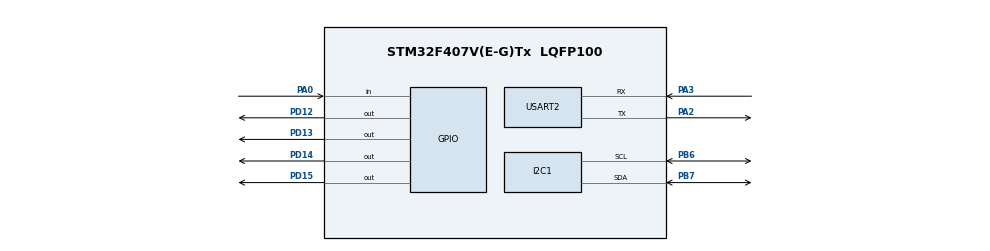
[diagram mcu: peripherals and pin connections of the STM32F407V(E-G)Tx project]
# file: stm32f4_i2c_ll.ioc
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Mcu.Family=STM32F4
Mcu.Name=STM32F407V(E-G)Tx
Mcu.Package=LQFP100
NVIC.PriorityGroup=NVIC_PRIORITYGROUP_4
NVIC.WWDG_IRQn=true\:0\:0\:false\:false\:true\:true\:true
PA0-WKUP.Signal=GPIO_Input
PA2.Mode=Asynchronous
PA2.Signal=USART2_TX
PA3.Mode=Asynchronous
PA3.Signal=USART2_RX
PB6.Mode=I2C
PB6.Signal=I2C1_SCL
PB7.Mode=I2C
PB7.Signal=I2C1_SDA
PD12.Signal=GPIO_Output
PD13.Signal=GPIO_Output
PD14.Signal=GPIO_Output
PD15.Signal=GPIO_Output
PH0-OSC_IN.Mode=HSE-External-Oscillator
PH0-OSC_IN.Signal=RCC_OSC_IN
PH1-OSC_OUT.Mode=HSE-External-Oscillator
PH1-OSC_OUT.Signal=RCC_OSC_OUT
ProjectManager.HeapSize=0x200
ProjectManager.StackSize=0x400
ProjectManager.TargetToolchain=STM32CubeIDE
RCC.48MHZClocksFreq_Value=84000000
RCC.AHBFreq_Value=168000000
RCC.APB1CLKDivider=RCC_HCLK_DIV4
RCC.APB1Freq_Value=42000000
RCC.APB1TimFreq_Value=84000000
RCC.APB2CLKDivider=RCC_HCLK_DIV2
RCC.APB2Freq_Value=84000000
RCC.APB2TimFreq_Value=168000000
RCC.CortexFreq_Value=168000000
RCC.HCLKFreq_Value=168000000
RCC.HSE_VALUE=8000000
RCC.HSI_VALUE=16000000
RCC.LSE_VALUE=32768
RCC.PLLM=4
RCC.PLLN=168
RCC.PLLSourceVirtual=RCC_PLLSOURCE_HSE
RCC.SYSCLKFreq_VALUE=168000000
RCC.SYSCLKSource=RCC_SYSCLKSOURCE_PLLCLK
RCC.VCOOutputFreq_Value=336000000
USART2.VirtualMode=VM_ASYNC
VP_WWDG_VS_WWDG.Mode=WWDG_Activate
WWDG.Counter=127
WWDG.EWIMode=WWDG_EWI_ENABLE
WWDG.Prescaler=WWDG_PRESCALER_8
WWDG.Window=90
board=custom

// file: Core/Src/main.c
/* USER CODE BEGIN Header */
/**
  ******************************************************************************
  * @file           : main.c
  * @brief          : Main program body
  ******************************************************************************
  * @attention
  *
  * <h2><center>&copy; Copyright (c) 2022 STMicroelectronics.
  * All rights reserved.</center></h2>
  *
  * This software component is licensed by ST under BSD 3-Clause license,
  * the "License"; You may not use this file except in compliance with the
  * License. You may obtain a copy of the License at:
  *                        opensource.org/licenses/BSD-3-Clause
  *
  ******************************************************************************
  */
/* USER CODE END Header */
#include "main.h"

/* USER CODE BEGIN Includes */
#include "bmi160.h"
/* USER CODE END Includes */

void SystemClock_Config(void);
static void MX_GPIO_Init(void);
static void MX_USART2_UART_Init(void);
static void MX_WWDG_Init(void);
static void MX_I2C1_Init(void);

int main(void)
{

  /* MCU Configuration--------------------------------------------------------*/

  /* Reset of all peripherals, Initializes the Flash interface and the Systick. */

  LL_APB2_GRP1_EnableClock(LL_APB2_GRP1_PERIPH_SYSCFG);
  LL_APB1_GRP1_EnableClock(LL_APB1_GRP1_PERIPH_PWR);

  NVIC_SetPriorityGrouping(NVIC_PRIORITYGROUP_4);

  /* System interrupt init*/
  /* SysTick_IRQn interrupt configuration */
  NVIC_SetPriority(SysTick_IRQn, NVIC_EncodePriority(NVIC_GetPriorityGrouping(),15, 0));

  /* Configure the system clock */
  SystemClock_Config();

  /* Initialize all configured peripherals */
  MX_GPIO_Init();
  MX_USART2_UART_Init();
  //MX_WWDG_Init();
  MX_I2C1_Init();
  /* USER CODE BEGIN 2 */
  int16_t tempVal = 0;
  int8_t readGyroStat = 0;
  int8_t readTempValStat = 0;
  int8_t getAccelerationStat = 0;
  int8_t getMotion6Stat = 0;
  float convertTemp = 0.0;
  int16_t x = 0;
  int16_t y = 0;
  int16_t z = 0;
  int16_t x1 = 0;
  int16_t y1 = 0;
  int16_t z1 = 0;
  int16_t ax1 = 0;
  int16_t ay1 = 0;
  int16_t az1 = 0;
  int16_t gx1 = 0;
  int16_t gy1 = 0;
  int16_t gz1 = 0;
  int8_t initOpStat = BMI160_Initialize();
  //BMI160_CheckSensorID();
  /* USER CODE END 2 */

  /* Infinite loop */
  while (1)
  {
	  readGyroStat = BMI160_ReadGyro(&x, &y, &z);
	  LL_mDelay(100);
	  readTempValStat = BMI160_GetTemperature(&tempVal);
	  convertTemp = BMI160_ConvertRawTemp(tempVal);
	  LL_mDelay(100);
	  getAccelerationStat = BMI160_GetAcceleration(&x1, &y1, &z1);
	  LL_mDelay(100);
	  getMotion6Stat = BMI160_GetMotion6(&ax1, &ay1, &az1, &gx1, &gy1, &gz1);
	  LL_mDelay(300);
  }
}

void SystemClock_Config(void)
{
  LL_FLASH_SetLatency(LL_FLASH_LATENCY_5);
  while(LL_FLASH_GetLatency()!= LL_FLASH_LATENCY_5)
  {
  }
  LL_PWR_SetRegulVoltageScaling(LL_PWR_REGU_VOLTAGE_SCALE1);
  LL_RCC_HSE_Enable();

   /* Wait till HSE is ready */
  while(LL_RCC_HSE_IsReady() != 1)
  {

  }
  LL_RCC_PLL_ConfigDomain_SYS(LL_RCC_PLLSOURCE_HSE, LL_RCC_PLLM_DIV_4, 168, LL_RCC_PLLP_DIV_2);
  LL_RCC_PLL_Enable();

   /* Wait till PLL is ready */
  while(LL_RCC_PLL_IsReady() != 1)
  {

  }
  LL_RCC_SetAHBPrescaler(LL_RCC_SYSCLK_DIV_1);
  LL_RCC_SetAPB1Prescaler(LL_RCC_APB1_DIV_4);
  LL_RCC_SetAPB2Prescaler(LL_RCC_APB2_DIV_2);
  LL_RCC_SetSysClkSource(LL_RCC_SYS_CLKSOURCE_PLL);

   /* Wait till System clock is ready */
  while(LL_RCC_GetSysClkSource() != LL_RCC_SYS_CLKSOURCE_STATUS_PLL)
  {

  }
  LL_Init1msTick(168000000);
  LL_SetSystemCoreClock(168000000);
}

static void MX_I2C1_Init(void)
{

  LL_I2C_InitTypeDef I2C_InitStruct = {0};

  LL_GPIO_InitTypeDef GPIO_InitStruct = {0};

  LL_AHB1_GRP1_EnableClock(LL_AHB1_GRP1_PERIPH_GPIOB);
  /**I2C1 GPIO Configuration
  PB6   ------> I2C1_SCL
  PB7   ------> I2C1_SDA
  */
  GPIO_InitStruct.Pin = LL_GPIO_PIN_6|LL_GPIO_PIN_7;
  GPIO_InitStruct.Mode = LL_GPIO_MODE_ALTERNATE;
  GPIO_InitStruct.Speed = LL_GPIO_SPEED_FREQ_VERY_HIGH;
  GPIO_InitStruct.OutputType = LL_GPIO_OUTPUT_OPENDRAIN;
  GPIO_InitStruct.Pull = LL_GPIO_PULL_NO;
  GPIO_InitStruct.Alternate = LL_GPIO_AF_4;
  LL_GPIO_Init(GPIOB, &GPIO_InitStruct);

  /* Peripheral clock enable */
  LL_APB1_GRP1_EnableClock(LL_APB1_GRP1_PERIPH_I2C1);

  /** I2C Initialization
  */
  LL_I2C_DisableOwnAddress2(I2C1);
  LL_I2C_DisableGeneralCall(I2C1);
  LL_I2C_EnableClockStretching(I2C1);
  I2C_InitStruct.PeripheralMode = LL_I2C_MODE_I2C;
  I2C_InitStruct.ClockSpeed = 100000;
  I2C_InitStruct.DutyCycle = LL_I2C_DUTYCYCLE_2;
  I2C_InitStruct.OwnAddress1 = 230;
  I2C_InitStruct.TypeAcknowledge = LL_I2C_ACK;
  I2C_InitStruct.OwnAddrSize = LL_I2C_OWNADDRESS1_7BIT;
  LL_I2C_Init(I2C1, &I2C_InitStruct);
  LL_I2C_SetOwnAddress2(I2C1, 0);

}

static void MX_USART2_UART_Init(void)
{

  LL_USART_InitTypeDef USART_InitStruct = {0};

  LL_GPIO_InitTypeDef GPIO_InitStruct = {0};

  /* Peripheral clock enable */
  LL_APB1_GRP1_EnableClock(LL_APB1_GRP1_PERIPH_USART2);

  LL_AHB1_GRP1_EnableClock(LL_AHB1_GRP1_PERIPH_GPIOA);
  /**USART2 GPIO Configuration
  PA2   ------> USART2_TX
  PA3   ------> USART2_RX
  */
  GPIO_InitStruct.Pin = LL_GPIO_PIN_2|LL_GPIO_PIN_3;
  GPIO_InitStruct.Mode = LL_GPIO_MODE_ALTERNATE;
  GPIO_InitStruct.Speed = LL_GPIO_SPEED_FREQ_VERY_HIGH;
  GPIO_InitStruct.OutputType = LL_GPIO_OUTPUT_PUSHPULL;
  GPIO_InitStruct.Pull = LL_GPIO_PULL_NO;
  GPIO_InitStruct.Alternate = LL_GPIO_AF_7;
  LL_GPIO_Init(GPIOA, &GPIO_InitStruct);

  USART_InitStruct.BaudRate = 115200;
  USART_InitStruct.DataWidth = LL_USART_DATAWIDTH_8B;
  USART_InitStruct.StopBits = LL_USART_STOPBITS_1;
  USART_InitStruct.Parity = LL_USART_PARITY_NONE;
  USART_InitStruct.TransferDirection = LL_USART_DIRECTION_TX_RX;
  USART_InitStruct.HardwareFlowControl = LL_USART_HWCONTROL_NONE;
  USART_InitStruct.OverSampling = LL_USART_OVERSAMPLING_16;
  LL_USART_Init(USART2, &USART_InitStruct);
  LL_USART_ConfigAsyncMode(USART2);
  LL_USART_Enable(USART2);

}

static void MX_WWDG_Init(void)
{

  /* Peripheral clock enable */
  LL_APB1_GRP1_EnableClock(LL_APB1_GRP1_PERIPH_WWDG);

  /* WWDG interrupt Init */
  NVIC_SetPriority(WWDG_IRQn, NVIC_EncodePriority(NVIC_GetPriorityGrouping(),0, 0));
  NVIC_EnableIRQ(WWDG_IRQn);

  LL_WWDG_SetCounter(WWDG, 127);
  LL_WWDG_Enable(WWDG);
  LL_WWDG_SetPrescaler(WWDG, LL_WWDG_PRESCALER_8);
  LL_WWDG_SetWindow(WWDG, 90);
  LL_WWDG_EnableIT_EWKUP(WWDG);

}

static void MX_GPIO_Init(void)
{
  LL_GPIO_InitTypeDef GPIO_InitStruct = {0};

  /* GPIO Ports Clock Enable */
  LL_AHB1_GRP1_EnableClock(LL_AHB1_GRP1_PERIPH_GPIOH);
  LL_AHB1_GRP1_EnableClock(LL_AHB1_GRP1_PERIPH_GPIOA);
  LL_AHB1_GRP1_EnableClock(LL_AHB1_GRP1_PERIPH_GPIOD);
  LL_AHB1_GRP1_EnableClock(LL_AHB1_GRP1_PERIPH_GPIOB);

  /**/
  LL_GPIO_ResetOutputPin(GPIOD, LL_GPIO_PIN_12|LL_GPIO_PIN_13|LL_GPIO_PIN_14|LL_GPIO_PIN_15);

  /**/
  GPIO_InitStruct.Pin = LL_GPIO_PIN_0;
  GPIO_InitStruct.Mode = LL_GPIO_MODE_INPUT;
  GPIO_InitStruct.Pull = LL_GPIO_PULL_NO;
  LL_GPIO_Init(GPIOA, &GPIO_InitStruct);

  /**/
  GPIO_InitStruct.Pin = LL_GPIO_PIN_12|LL_GPIO_PIN_13|LL_GPIO_PIN_14|LL_GPIO_PIN_15;
  GPIO_InitStruct.Mode = LL_GPIO_MODE_OUTPUT;
  GPIO_InitStruct.Speed = LL_GPIO_SPEED_FREQ_LOW;
  GPIO_InitStruct.OutputType = LL_GPIO_OUTPUT_PUSHPULL;
  GPIO_InitStruct.Pull = LL_GPIO_PULL_NO;
  LL_GPIO_Init(GPIOD, &GPIO_InitStruct);

}

void Error_Handler(void)
{
  __disable_irq();
  while (1)
  {
  }
}

/************************ (C) COPYRIGHT STMicroelectronics *****END OF FILE****/
